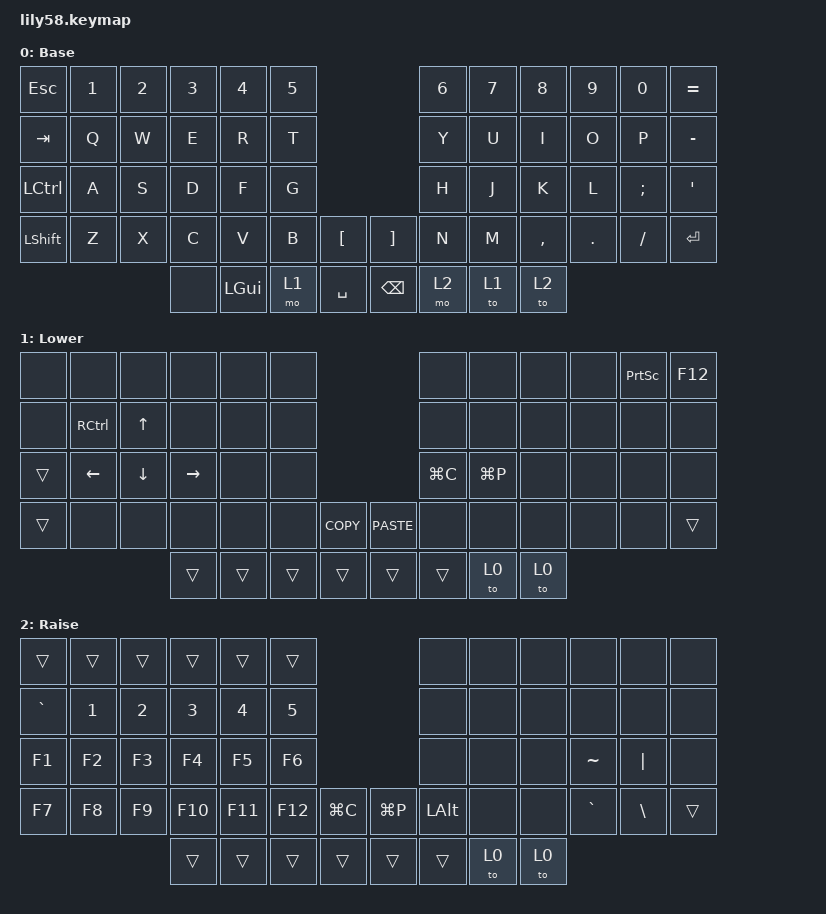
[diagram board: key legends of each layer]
/*
 * Copyright (c) 2020 The ZMK Contributors
 *
 * SPDX-License-Identifier: MIT
 */

#include <behaviors.dtsi>
#include <dt-bindings/zmk/keys.h>

/ {
    keymap {
        compatible = "zmk,keymap";

        default_layer {
            // ------------------------------------------------------------------------------------------------------------
            // |  ESC  |  1  |  2  |  3   |  4   |  5   |                   |  6   |  7    |  8    |  9   |   0   |   `   |
            // |  TAB  |  Q  |  W  |  E   |  R   |  T   |                   |  Y   |  U    |  I    |  O   |   P   |   -   |
            // |  CTRL |  A  |  S  |  D   |  F   |  G   |                   |  H   |  J    |  K    |  L   |   ;   |   '   |
            // | SHIFT |  Z  |  X  |  C   |  V   |  B   |   "["  |  |  "]"  |  N   |  M    |  ,    |  .   |   /   | SHIFT |
            //                     | ALT  | GUI  | LOWER|  SPACE |  | ENTER | RAISE| BSPC  | GUI   |

            display-name = "Base";
            bindings = <
&kp ESC    &kp N1  &kp N2  &kp N3  &kp N4    &kp N5                              &kp N6  &kp N7  &kp N8     &kp N9   &kp N0    &kp EQUAL
&kp TAB    &kp Q   &kp W   &kp E   &kp R     &kp T                               &kp Y   &kp U   &kp I      &kp O    &kp P     &kp MINUS
&kp LCTRL  &kp A   &kp S   &kp D   &kp F     &kp G                               &kp H   &kp J   &kp K      &kp L    &kp SEMI  &kp SQT
&kp LSHFT  &kp Z   &kp X   &kp C   &kp V     &kp B   &kp LBKT     &kp RBKT       &kp N   &kp M   &kp COMMA  &kp DOT  &kp FSLH  &kp ENTER
                           &none   &kp LGUI  &mo 1   &kp SPACE    &kp BACKSPACE  &mo 2   &to 1   &to 2
            >;
        };

        lower_layer {
            // ------------------------------------------------------------------------------------------------------------
            // | BTCLR | BT1 | BT2 |  BT3 |  BT4 |  BT5 |                   |      |       |       |      |       |       |
            // |  F1   |  F2 |  F3 |  F4  |  F5  |  F6  |                   |  F7  |  F8   |  F9   |  F10 |  F11  |  F12  |
            // |   `   |  !  |  @  |  #   |  $   |  %   |                   |  ^   |  &    |  *    |  (   |   )   |   ~   |
            // |       |     |     |      |      |      |        |  |       |      |  _    |  +    |  {   |   }   |  "|"  |
            //                     |      |      |      |        |  |       |      |       |       |

            display-name = "Lower";
            bindings = <
&none   &none      &none         &none      &none   &none                              &none      &none      &none  &none  &kp PRINTSCREEN  &kp F12
&none   &kp RCTRL  &kp UP_ARROW  &none      &none   &none                              &none      &none      &none  &none  &none            &none
&trans  &kp LEFT   &kp DOWN      &kp RIGHT  &none   &none                              &kp LG(C)  &kp LG(P)  &none  &none  &none            &none
&trans  &none      &none         &none      &none   &none   &kp K_COPY    &kp K_PASTE  &none      &none      &none  &none  &none            &trans
                                 &trans     &trans  &trans  &trans        &trans       &trans     &to 0      &to 0
            >;
        };

        raise_layer {
            // ------------------------------------------------------------------------------------------------------------
            // |       |     |     |      |      |      |                   |      |       |       |      |       |       |
            // |   `   |  1  |  2  |  3   |  4   |  5   |                   |  6   |   7   |   8   |  9   |   0   |       |
            // |   F1  |  F2 |  F3 |  F4  |  F5  |  F6  |                   |      |   <-  |   v   |  ^   |  ->   |       |
            // |   F7  |  F8 |  F9 |  F10 |  F11 |  F12 |        |  |       |  +   |   -   |   =   |  [   |   ]   |   \   |
            //                     |      |      |      |        |  |       |      |       |       |

            display-name = "Raise";
            bindings = <
&trans     &trans  &trans  &trans   &trans   &trans                           &none     &none  &none  &none      &none          &none
&kp GRAVE  &kp N1  &kp N2  &kp N3   &kp N4   &kp N5                           &none     &none  &none  &none      &none          &none
&kp F1     &kp F2  &kp F3  &kp F4   &kp F5   &kp F6                           &none     &none  &none  &kp TILDE  &kp PIPE       &none
&kp F7     &kp F8  &kp F9  &kp F10  &kp F11  &kp F12  &kp LG(C)    &kp LG(P)  &kp LALT  &none  &none  &kp GRAVE  &kp BACKSLASH  &trans
                           &trans   &trans   &trans   &trans       &trans     &trans    &to 0  &to 0
            >;
        };
    };
};
